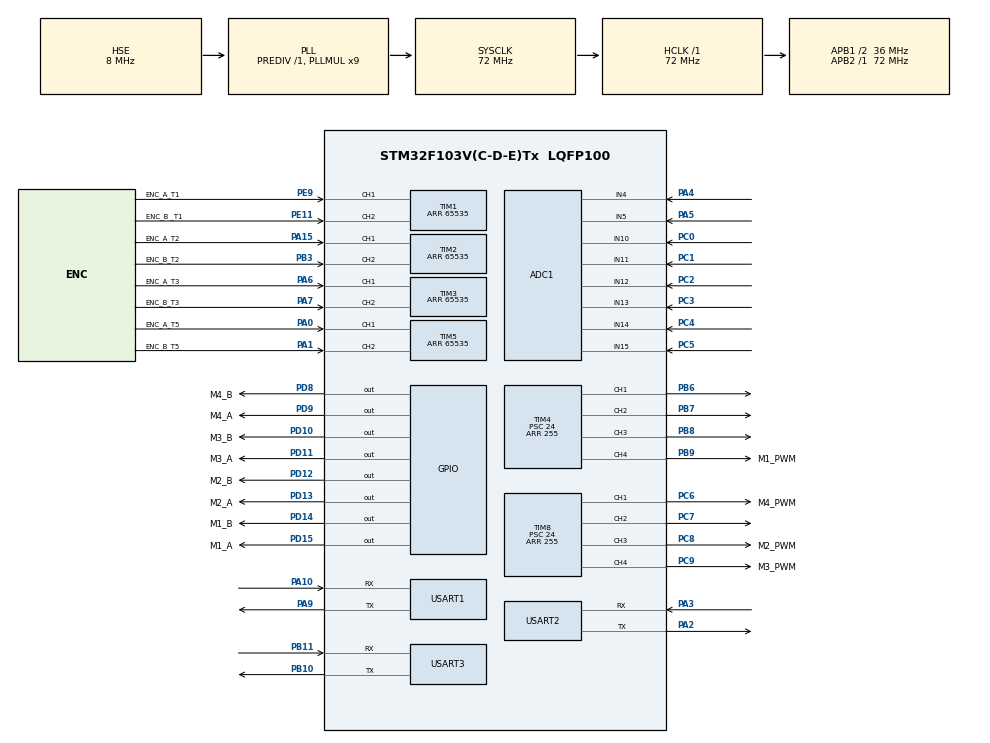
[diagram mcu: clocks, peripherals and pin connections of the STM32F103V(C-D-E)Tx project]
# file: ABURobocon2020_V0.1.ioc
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ADC1.Channel-0\#ChannelRegularConversion=ADC_CHANNEL_4
ADC1.Channel-1\#ChannelRegularConversion=ADC_CHANNEL_5
ADC1.Channel-2\#ChannelRegularConversion=ADC_CHANNEL_10
ADC1.Channel-3\#ChannelRegularConversion=ADC_CHANNEL_11
ADC1.Channel-4\#ChannelRegularConversion=ADC_CHANNEL_12
ADC1.Channel-5\#ChannelRegularConversion=ADC_CHANNEL_13
ADC1.Channel-6\#ChannelRegularConversion=ADC_CHANNEL_14
ADC1.Channel-7\#ChannelRegularConversion=ADC_CHANNEL_15
ADC1.ContinuousConvMode=ENABLE
ADC1.NbrOfConversion=8
ADC1.NbrOfConversionFlag=1
ADC1.Rank-0\#ChannelRegularConversion=1
ADC1.Rank-1\#ChannelRegularConversion=2
ADC1.Rank-2\#ChannelRegularConversion=3
ADC1.Rank-3\#ChannelRegularConversion=4
ADC1.Rank-4\#ChannelRegularConversion=5
ADC1.Rank-5\#ChannelRegularConversion=6
ADC1.Rank-6\#ChannelRegularConversion=7
ADC1.Rank-7\#ChannelRegularConversion=8
ADC1.SamplingTime-0\#ChannelRegularConversion=ADC_SAMPLETIME_239CYCLES_5
ADC1.SamplingTime-1\#ChannelRegularConversion=ADC_SAMPLETIME_239CYCLES_5
ADC1.SamplingTime-2\#ChannelRegularConversion=ADC_SAMPLETIME_239CYCLES_5
ADC1.SamplingTime-3\#ChannelRegularConversion=ADC_SAMPLETIME_239CYCLES_5
ADC1.SamplingTime-4\#ChannelRegularConversion=ADC_SAMPLETIME_239CYCLES_5
ADC1.SamplingTime-5\#ChannelRegularConversion=ADC_SAMPLETIME_239CYCLES_5
ADC1.SamplingTime-6\#ChannelRegularConversion=ADC_SAMPLETIME_239CYCLES_5
ADC1.SamplingTime-7\#ChannelRegularConversion=ADC_SAMPLETIME_239CYCLES_5
ADC1.master=1
Dma.ADC1.6.Direction=DMA_PERIPH_TO_MEMORY
Dma.ADC1.6.Instance=DMA1_Channel1
Dma.ADC1.6.MemDataAlignment=DMA_MDATAALIGN_WORD
Dma.ADC1.6.MemInc=DMA_MINC_ENABLE
Dma.ADC1.6.Mode=DMA_CIRCULAR
Dma.ADC1.6.PeriphDataAlignment=DMA_PDATAALIGN_WORD
Dma.ADC1.6.PeriphInc=DMA_PINC_DISABLE
Dma.ADC1.6.Priority=DMA_PRIORITY_LOW
Dma.Request0=USART1_RX
Dma.Request1=USART1_TX
Dma.Request2=USART2_RX
Dma.Request3=USART2_TX
Dma.Request4=USART3_RX
Dma.Request5=USART3_TX
Dma.Request6=ADC1
Dma.USART1_RX.0.Direction=DMA_PERIPH_TO_MEMORY
Dma.USART1_RX.0.Instance=DMA1_Channel5
Dma.USART1_RX.0.MemDataAlignment=DMA_MDATAALIGN_BYTE
Dma.USART1_RX.0.MemInc=DMA_MINC_ENABLE
Dma.USART1_RX.0.Mode=DMA_NORMAL
Dma.USART1_RX.0.PeriphDataAlignment=DMA_PDATAALIGN_BYTE
Dma.USART1_RX.0.PeriphInc=DMA_PINC_DISABLE
Dma.USART1_RX.0.Priority=DMA_PRIORITY_LOW
Dma.USART1_TX.1.Direction=DMA_MEMORY_TO_PERIPH
Dma.USART1_TX.1.Instance=DMA1_Channel4
Dma.USART1_TX.1.MemDataAlignment=DMA_MDATAALIGN_BYTE
Dma.USART1_TX.1.MemInc=DMA_MINC_ENABLE
Dma.USART1_TX.1.Mode=DMA_NORMAL
Dma.USART1_TX.1.PeriphDataAlignment=DMA_PDATAALIGN_BYTE
Dma.USART1_TX.1.PeriphInc=DMA_PINC_DISABLE
Dma.USART1_TX.1.Priority=DMA_PRIORITY_LOW
Dma.USART2_RX.2.Direction=DMA_PERIPH_TO_MEMORY
Dma.USART2_RX.2.Instance=DMA1_Channel6
Dma.USART2_RX.2.MemDataAlignment=DMA_MDATAALIGN_BYTE
Dma.USART2_RX.2.MemInc=DMA_MINC_ENABLE
Dma.USART2_RX.2.Mode=DMA_NORMAL
Dma.USART2_RX.2.PeriphDataAlignment=DMA_PDATAALIGN_BYTE
Dma.USART2_RX.2.PeriphInc=DMA_PINC_DISABLE
Dma.USART2_RX.2.Priority=DMA_PRIORITY_LOW
Dma.USART2_TX.3.Direction=DMA_MEMORY_TO_PERIPH
Dma.USART2_TX.3.Instance=DMA1_Channel7
Dma.USART2_TX.3.MemDataAlignment=DMA_MDATAALIGN_BYTE
Dma.USART2_TX.3.MemInc=DMA_MINC_ENABLE
Dma.USART2_TX.3.Mode=DMA_NORMAL
Dma.USART2_TX.3.PeriphDataAlignment=DMA_PDATAALIGN_BYTE
Dma.USART2_TX.3.PeriphInc=DMA_PINC_DISABLE
Dma.USART2_TX.3.Priority=DMA_PRIORITY_LOW
Dma.USART3_RX.4.Direction=DMA_PERIPH_TO_MEMORY
Dma.USART3_RX.4.Instance=DMA1_Channel3
Dma.USART3_RX.4.MemDataAlignment=DMA_MDATAALIGN_BYTE
Dma.USART3_RX.4.MemInc=DMA_MINC_ENABLE
Dma.USART3_RX.4.Mode=DMA_NORMAL
Dma.USART3_RX.4.PeriphDataAlignment=DMA_PDATAALIGN_BYTE
Dma.USART3_RX.4.PeriphInc=DMA_PINC_DISABLE
Dma.USART3_RX.4.Priority=DMA_PRIORITY_LOW
Dma.USART3_TX.5.Direction=DMA_MEMORY_TO_PERIPH
Dma.USART3_TX.5.Instance=DMA1_Channel2
Dma.USART3_TX.5.MemDataAlignment=DMA_MDATAALIGN_BYTE
Dma.USART3_TX.5.MemInc=DMA_MINC_ENABLE
Dma.USART3_TX.5.Mode=DMA_NORMAL
Dma.USART3_TX.5.PeriphDataAlignment=DMA_PDATAALIGN_BYTE
Dma.USART3_TX.5.PeriphInc=DMA_PINC_DISABLE
Dma.USART3_TX.5.Priority=DMA_PRIORITY_LOW
FREERTOS.Mutexes01=myUART_Mutex,Dynamic,NULL
FREERTOS.Tasks01=myMainTask,0,200,MainTask,Default,NULL,Dynamic,NULL,NULL;myWheelTask,-3,128,WheelTask,Default,NULL,Dynamic,NULL,NULL;myArmTask,-3,128,ArmTask,Default,NULL,Dynamic,NULL,NULL
Mcu.Family=STM32F1
Mcu.Name=STM32F103V(C-D-E)Tx
Mcu.Package=LQFP100
NVIC.ADC1_2_IRQn=true\:5\:0\:false\:false\:true\:true\:true\:true
NVIC.DMA1_Channel1_IRQn=true\:5\:0\:false\:false\:true\:true\:false\:true
NVIC.DMA1_Channel2_IRQn=true\:5\:0\:false\:false\:true\:true\:false\:true
NVIC.DMA1_Channel3_IRQn=true\:5\:0\:false\:false\:true\:true\:false\:true
NVIC.DMA1_Channel4_IRQn=true\:5\:0\:false\:false\:true\:true\:false\:true
NVIC.DMA1_Channel5_IRQn=true\:5\:0\:false\:false\:true\:true\:false\:true
NVIC.DMA1_Channel6_IRQn=true\:5\:0\:false\:false\:true\:true\:false\:true
NVIC.DMA1_Channel7_IRQn=true\:5\:0\:false\:false\:true\:true\:false\:true
NVIC.PriorityGroup=NVIC_PRIORITYGROUP_4
NVIC.RTC_IRQn=true\:5\:0\:false\:false\:true\:true\:true\:true
NVIC.USART1_IRQn=true\:5\:0\:false\:false\:true\:true\:true\:true
NVIC.USART2_IRQn=true\:5\:0\:false\:false\:true\:true\:true\:true
NVIC.USART3_IRQn=true\:5\:0\:false\:false\:true\:true\:true\:true
OSC_IN.Mode=HSE-External-Oscillator
OSC_IN.Signal=RCC_OSC_IN
OSC_OUT.Mode=HSE-External-Oscillator
OSC_OUT.Signal=RCC_OSC_OUT
PA0-WKUP.GPIO_Label=ENC_A_T5
PA0-WKUP.Signal=S_TIM5_CH1
PA1.GPIO_Label=ENC_B_T5
PA1.Signal=S_TIM5_CH2
PA10.Mode=Asynchronous
PA10.Signal=USART1_RX
PA15.GPIO_Label=ENC_A_T2
PA15.Signal=S_TIM2_CH1_ETR
PA2.Mode=Asynchronous
PA2.Signal=USART2_TX
PA3.Mode=Asynchronous
PA3.Signal=USART2_RX
PA4.Signal=ADCx_IN4
PA5.Signal=ADCx_IN5
PA6.GPIO_Label=ENC_A_T3
PA6.Signal=S_TIM3_CH1
PA7.GPIO_Label=ENC_B_T3
PA7.Signal=S_TIM3_CH2
PA9.Mode=Asynchronous
PA9.Signal=USART1_TX
PB10.Mode=Asynchronous
PB10.Signal=USART3_TX
PB11.Mode=Asynchronous
PB11.Signal=USART3_RX
PB3.GPIO_Label=ENC_B_T2
PB3.Signal=S_TIM2_CH2
PB6.Signal=S_TIM4_CH1
PB7.Signal=S_TIM4_CH2
PB8.Signal=S_TIM4_CH3
PB9.GPIO_Label=M1_PWM
PB9.Signal=S_TIM4_CH4
PC0.Signal=ADCx_IN10
PC1.Signal=ADCx_IN11
PC14-OSC32_IN.Mode=LSE-External-Oscillator
PC14-OSC32_IN.Signal=RCC_OSC32_IN
PC15-OSC32_OUT.Mode=LSE-External-Oscillator
PC15-OSC32_OUT.Signal=RCC_OSC32_OUT
PC2.Signal=ADCx_IN12
PC3.Signal=ADCx_IN13
PC4.Signal=ADCx_IN14
PC5.Signal=ADCx_IN15
PC6.GPIO_Label=M4_PWM
PC6.Signal=S_TIM8_CH1
PC7.Signal=S_TIM8_CH2
PC8.GPIO_Label=M2_PWM
PC8.Signal=S_TIM8_CH3
PC9.GPIO_Label=M3_PWM
PC9.Signal=S_TIM8_CH4
PD10.GPIO_Label=M3_B
PD10.Signal=GPIO_Output
PD11.GPIO_Label=M3_A
PD11.Signal=GPIO_Output
PD12.GPIO_Label=M2_B
PD12.Signal=GPIO_Output
PD13.GPIO_Label=M2_A
PD13.Signal=GPIO_Output
PD14.GPIO_Label=M1_B
PD14.Signal=GPIO_Output
PD15.GPIO_Label=M1_A
PD15.Signal=GPIO_Output
PD8.GPIO_Label=M4_B
PD8.Signal=GPIO_Output
PD9.GPIO_Label=M4_A
PD9.Signal=GPIO_Output
PE11.GPIO_Label=ENC_B _T1
PE11.GPIO_PuPd=GPIO_PULLUP
PE11.Signal=S_TIM1_CH2
PE9.GPIO_Label=ENC_A_T1
PE9.GPIO_PuPd=GPIO_PULLUP
PE9.Signal=S_TIM1_CH1
ProjectManager.HeapSize=0x200
ProjectManager.StackSize=0x400
ProjectManager.TargetToolchain=MDK-ARM V5
RCC.ADCPresc=RCC_ADCPCLK2_DIV6
RCC.AHBFreq_Value=72000000
RCC.APB1CLKDivider=RCC_HCLK_DIV2
RCC.APB1Freq_Value=36000000
RCC.APB1TimFreq_Value=72000000
RCC.APB2Freq_Value=72000000
RCC.APB2TimFreq_Value=72000000
RCC.HCLKFreq_Value=72000000
RCC.PLLMUL=RCC_PLL_MUL9
RCC.PLLSourceVirtual=RCC_PLLSOURCE_HSE
RCC.SYSCLKFreq_VALUE=72000000
RCC.SYSCLKSource=RCC_SYSCLKSOURCE_PLLCLK
RCC.USBFreq_Value=72000000
SH.ADCx_IN10.0=ADC1_IN10,IN10
SH.ADCx_IN11.0=ADC1_IN11,IN11
SH.ADCx_IN12.0=ADC1_IN12,IN12
SH.ADCx_IN13.0=ADC1_IN13,IN13
SH.ADCx_IN14.0=ADC1_IN14,IN14
SH.ADCx_IN15.0=ADC1_IN15,IN15
SH.ADCx_IN4.0=ADC1_IN4,IN4
SH.ADCx_IN5.0=ADC1_IN5,IN5
SH.S_TIM1_CH1.0=TIM1_CH1,Encoder_Interface
SH.S_TIM1_CH2.0=TIM1_CH2,Encoder_Interface
SH.S_TIM2_CH1_ETR.0=TIM2_CH1,Encoder_Interface
SH.S_TIM2_CH2.0=TIM2_CH2,Encoder_Interface
SH.S_TIM3_CH1.0=TIM3_CH1,Encoder_Interface
SH.S_TIM3_CH2.0=TIM3_CH2,Encoder_Interface
SH.S_TIM4_CH1.0=TIM4_CH1,PWM Generation1 CH1
SH.S_TIM4_CH2.0=TIM4_CH2,PWM Generation2 CH2
SH.S_TIM4_CH3.0=TIM4_CH3,PWM Generation3 CH3
SH.S_TIM4_CH4.0=TIM4_CH4,PWM Generation4 CH4
SH.S_TIM5_CH1.0=TIM5_CH1,Encoder_Interface
SH.S_TIM5_CH2.0=TIM5_CH2,Encoder_Interface
SH.S_TIM8_CH1.0=TIM8_CH1,PWM Generation1 CH1
SH.S_TIM8_CH2.0=TIM8_CH2,PWM Generation2 CH2
SH.S_TIM8_CH3.0=TIM8_CH3,PWM Generation3 CH3
SH.S_TIM8_CH4.0=TIM8_CH4,PWM Generation4 CH4
TIM1.EncoderMode=TIM_ENCODERMODE_TI12
TIM1.IC2Polarity=TIM_ICPOLARITY_RISING
TIM1.Period=65535
TIM2.EncoderMode=TIM_ENCODERMODE_TI12
TIM2.Period=65535
TIM3.EncoderMode=TIM_ENCODERMODE_TI12
TIM3.Period=65535
TIM4.Channel-PWM\ Generation1\ CH1=TIM_CHANNEL_1
TIM4.Channel-PWM\ Generation2\ CH2=TIM_CHANNEL_2
TIM4.Channel-PWM\ Generation3\ CH3=TIM_CHANNEL_3
TIM4.Channel-PWM\ Generation4\ CH4=TIM_CHANNEL_4
TIM4.OCPolarity_4=TIM_OCPOLARITY_HIGH
TIM4.Period=255
TIM4.Prescaler=24
TIM5.EncoderMode=TIM_ENCODERMODE_TI12
TIM5.Period=65535
TIM8.Channel-PWM\ Generation1\ CH1=TIM_CHANNEL_1
TIM8.Channel-PWM\ Generation2\ CH2=TIM_CHANNEL_2
TIM8.Channel-PWM\ Generation3\ CH3=TIM_CHANNEL_3
TIM8.Channel-PWM\ Generation4\ CH4=TIM_CHANNEL_4
TIM8.OCPolarity_1=TIM_OCPOLARITY_HIGH
TIM8.OCPolarity_3=TIM_OCPOLARITY_HIGH
TIM8.OCPolarity_4=TIM_OCPOLARITY_HIGH
TIM8.Period=255
TIM8.Prescaler=24
USART1.VirtualMode=VM_ASYNC
USART2.VirtualMode=VM_ASYNC
USART3.VirtualMode=VM_ASYNC
VP_FREERTOS_VS_CMSIS_V1.Mode=CMSIS_V1
VP_RTC_VS_RTC_Activate.Mode=RTC_Enabled
VP_SYS_VS_ND.Mode=No_Debug
board=custom

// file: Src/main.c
/* USER CODE BEGIN Header */
/**
  ******************************************************************************
  * @file           : main.c
  * @brief          : Main program body
  ******************************************************************************
  * @attention
  *
  * <h2><center>&copy; Copyright (c) 2019 STMicroelectronics.
  * All rights reserved.</center></h2>
  *
  * This software component is licensed by ST under BSD 3-Clause license,
  * the "License"; You may not use this file except in compliance with the
  * License. You may obtain a copy of the License at:
  *                        opensource.org/licenses/BSD-3-Clause
  *
  ******************************************************************************
  */
/* USER CODE END Header */

#include "main.h"
#include "cmsis_os.h"

/* USER CODE BEGIN Includes */
#include "STM_UART.h"
/* USER CODE END Includes */

/* USER CODE BEGIN PD */
uint8_t rbr1 , rbr2, rbr3;
char sbuf[BUFSIZE],spbuf[BUFSIZE];
unsigned char RXbuf[BUFSIZE];
unsigned char RX2buf[BUFSIZE];
unsigned char RX3buf[BUFSIZE];

uint32_t ADCvalue[8] , ADCbuffer[8];

long EncVal;

typedef struct{
	uint8_t speed;
	uint8_t direction;
	long Enc;
}Wheel_t;

Wheel_t wheel[4];

//Wheel Whl[4];

/* USER CODE END PD */

ADC_HandleTypeDef hadc1;
DMA_HandleTypeDef hdma_adc1;

RTC_HandleTypeDef hrtc;

TIM_HandleTypeDef htim1;
TIM_HandleTypeDef htim2;
TIM_HandleTypeDef htim3;
TIM_HandleTypeDef htim4;
TIM_HandleTypeDef htim5;
TIM_HandleTypeDef htim8;

UART_HandleTypeDef huart1;
UART_HandleTypeDef huart2;
UART_HandleTypeDef huart3;
DMA_HandleTypeDef hdma_usart1_rx;
DMA_HandleTypeDef hdma_usart1_tx;
DMA_HandleTypeDef hdma_usart2_rx;
DMA_HandleTypeDef hdma_usart2_tx;
DMA_HandleTypeDef hdma_usart3_rx;
DMA_HandleTypeDef hdma_usart3_tx;

osThreadId myMainTaskHandle;
osThreadId myWheelTaskHandle;
osThreadId myArmTaskHandle;
osMutexId myUART_MutexHandle;

void SystemClock_Config(void);
static void MX_GPIO_Init(void);
static void MX_DMA_Init(void);
static void MX_RTC_Init(void);
static void MX_USART1_UART_Init(void);
static void MX_USART2_UART_Init(void);
static void MX_USART3_UART_Init(void);
static void MX_TIM4_Init(void);
static void MX_TIM8_Init(void);
static void MX_ADC1_Init(void);
static void MX_TIM1_Init(void);
static void MX_TIM2_Init(void);
static void MX_TIM3_Init(void);
static void MX_TIM5_Init(void);
void MainTask(void const * argument);
void WheelTask(void const * argument);
void ArmTask(void const * argument);

/* USER CODE BEGIN 0 */
void HAL_ADC_ConvCpltCallback(ADC_HandleTypeDef* hadc){
	if(hadc->Instance == ADC1){
		for(int i=0; i<8; i++){
		  ADCvalue[i]=ADCbuffer[i];
		}
	}
}

long map(long x, long in_min, long in_max, long out_min, long out_max) {
  return (x - in_min) * (out_max - out_min) / (in_max - in_min) + out_min;
}

void PWMwrite(uint8_t tim ,uint8_t ch, uint8_t val){
	if(tim == 4){
     switch(ch){
			 case 4: __HAL_TIM_SET_COMPARE(&htim4, TIM_CHANNEL_4,val); break;
			 default : break;
		 }
	}
	else if(tim == 8){
		  switch(ch){
			 case 1: __HAL_TIM_SET_COMPARE(&htim8, TIM_CHANNEL_1,val); break;
			 case 3: __HAL_TIM_SET_COMPARE(&htim8, TIM_CHANNEL_3,val); break;
			 case 4: __HAL_TIM_SET_COMPARE(&htim8, TIM_CHANNEL_4,val); break;
			 default : break;
		 }
	}
	else{
		Serial1_Println("Timer not use");
	}
}

void MOTOR_1_FORWARD(uint8_t Dir,uint8_t Pwm){
	if(Dir == 1){
	HAL_GPIO_WritePin(M1_A_GPIO_Port, M1_A_Pin, 1);
	HAL_GPIO_WritePin(M1_B_GPIO_Port, M1_B_Pin, 0);
	}
	else if(Dir == 2){
	HAL_GPIO_WritePin(M1_A_GPIO_Port, M1_A_Pin, 0);
	HAL_GPIO_WritePin(M1_B_GPIO_Port, M1_B_Pin, 1);
	}
	else {
	HAL_GPIO_WritePin(M1_A_GPIO_Port, M1_A_Pin, 0);
	HAL_GPIO_WritePin(M1_B_GPIO_Port, M1_B_Pin, 0);
		}
}
void TIM1_IRQHandler(void)
{

}

void TIM2_IRQHandler(void)
{

}

void TIM3_IRQHandler(void)
{

}

void TIM5_IRQHandler(void)
{

}

/* USER CODE END 0 */

int main(void)
{

  /* MCU Configuration--------------------------------------------------------*/

  /* Reset of all peripherals, Initializes the Flash interface and the Systick. */
  HAL_Init();

  /* Configure the system clock */
  SystemClock_Config();

  /* Initialize all configured peripherals */
  MX_GPIO_Init();
  MX_DMA_Init();
  MX_RTC_Init();
  MX_USART1_UART_Init();
  MX_USART2_UART_Init();
  MX_USART3_UART_Init();
  MX_TIM4_Init();
  MX_TIM8_Init();
  MX_ADC1_Init();
  MX_TIM1_Init();
  MX_TIM2_Init();
  MX_TIM3_Init();
  MX_TIM5_Init();
  /* USER CODE BEGIN 2 */

	HAL_UART_Receive_DMA(&huart1,&rbr1,1);
	HAL_UART_Receive_DMA(&huart2,&rbr2,1);
  HAL_UART_Receive_DMA(&huart3,&rbr3,1);

	HAL_TIM_PWM_Start(&htim4, TIM_CHANNEL_4);
	HAL_TIM_PWM_Start(&htim8, TIM_CHANNEL_1);
	HAL_TIM_PWM_Start(&htim8, TIM_CHANNEL_3);
	HAL_TIM_PWM_Start(&htim8, TIM_CHANNEL_4);

	HAL_ADC_Start_DMA(&hadc1, ADCbuffer, 8);
	HAL_ADC_Start_IT(&hadc1);

	HAL_TIM_Encoder_Start(&htim1,TIM_CHANNEL_ALL);
	HAL_TIM_Encoder_Start(&htim2,TIM_CHANNEL_ALL);
	HAL_TIM_Encoder_Start(&htim3,TIM_CHANNEL_ALL);
	HAL_TIM_Encoder_Start(&htim5,TIM_CHANNEL_ALL);

		Serial1_Println("START HOILOD ... GO");
  /* USER CODE END 2 */

  /* Create the mutex(es) */
  /* definition and creation of myUART_Mutex */
  osMutexDef(myUART_Mutex);
  myUART_MutexHandle = osMutexCreate(osMutex(myUART_Mutex));

  /* Create the thread(s) */
  /* definition and creation of myMainTask */
  osThreadDef(myMainTask, MainTask, osPriorityNormal, 0, 200);
  myMainTaskHandle = osThreadCreate(osThread(myMainTask), NULL);

  /* definition and creation of myWheelTask */
  osThreadDef(myWheelTask, WheelTask, osPriorityIdle, 0, 128);
  myWheelTaskHandle = osThreadCreate(osThread(myWheelTask), NULL);

  /* definition and creation of myArmTask */
  osThreadDef(myArmTask, ArmTask, osPriorityIdle, 0, 128);
  myArmTaskHandle = osThreadCreate(osThread(myArmTask), NULL);

  /* Start scheduler */
  osKernelStart();

  /* We should never get here as control is now taken by the scheduler */

  /* Infinite loop */
  while (1)
  {

    /* USER CODE BEGIN 3 */
		//unsigned long EncVal = HAL_TIM_Encoder_GetState(&htim1);
////		long EncVal;
////
////		EncVal = __HAL_TIM_GET_COUNTER(&htim1);
////		if(EncVal > 65533){
////		__HAL_TIM_GET_COUNTER(&htim1) = 0;
////		}
//////		if(TIM1->CNT >= 65533){
//////			EncVal = TIM1->CNT + 65533;
//////		}
//////		else{
//////			EncVal = TIM1->CNT;
//////		}
////
////    sprintf(spbuf,"Encoder -> %lu", EncVal);
////		Serial1_Println(spbuf);
////		HAL_Delay(5);
////
//					for(int i=0;i<8;i++){
//			  sprintf(spbuf,"ADC[%d]:%d | ",i,ADCvalue[i]);
//			  Serial1_Print(spbuf);
//						HAL_Delay(10);
//			}
//					Serial1_Println("");

//		for(int i = 0;i<=255;i++){
//			PWMwrite(4,4,i);
//			PWMwrite(8,1,i);
//			PWMwrite(8,3,i);
//			PWMwrite(8,4,i);
//			HAL_Delay(20);
//		}
//				for(int i = 255;i>=0;i--){
//			PWMwrite(4,4,i);
//			PWMwrite(8,1,i);
//			PWMwrite(8,3,i);
//			PWMwrite(8,4,i);
//					HAL_Delay(20);
//		}

						if(Serial1_available() > 0){
					//Serial1_readByte_String(RXbuf,50);
					char c = Serial1_read();
					sprintf(sbuf,"C:%c",c);
					Serial1_Println(sbuf);

					if(c == 'a'){
						Serial1_Println("ON");
						//MOTOR_1_FORWARD(1,255);
					}
					else if(c == 's'){
						Serial1_Println("OFF");
					}
					//Serial1_Print("msg : "); Serial1_Println((char*)RXbuf);
				}
  }
  /* USER CODE END 3 */
}

void SystemClock_Config(void)
{
  RCC_OscInitTypeDef RCC_OscInitStruct = {0};
  RCC_ClkInitTypeDef RCC_ClkInitStruct = {0};
  RCC_PeriphCLKInitTypeDef PeriphClkInit = {0};

  /** Initializes the CPU, AHB and APB busses clocks
  */
  RCC_OscInitStruct.OscillatorType = RCC_OSCILLATORTYPE_LSI|RCC_OSCILLATORTYPE_HSE;
  RCC_OscInitStruct.HSEState = RCC_HSE_ON;
  RCC_OscInitStruct.HSEPredivValue = RCC_HSE_PREDIV_DIV1;
  RCC_OscInitStruct.HSIState = RCC_HSI_ON;
  RCC_OscInitStruct.LSIState = RCC_LSI_ON;
  RCC_OscInitStruct.PLL.PLLState = RCC_PLL_ON;
  RCC_OscInitStruct.PLL.PLLSource = RCC_PLLSOURCE_HSE;
  RCC_OscInitStruct.PLL.PLLMUL = RCC_PLL_MUL9;
  if (HAL_RCC_OscConfig(&RCC_OscInitStruct) != HAL_OK)
  {
    Error_Handler();
  }
  /** Initializes the CPU, AHB and APB busses clocks
  */
  RCC_ClkInitStruct.ClockType = RCC_CLOCKTYPE_HCLK|RCC_CLOCKTYPE_SYSCLK
                              |RCC_CLOCKTYPE_PCLK1|RCC_CLOCKTYPE_PCLK2;
  RCC_ClkInitStruct.SYSCLKSource = RCC_SYSCLKSOURCE_PLLCLK;
  RCC_ClkInitStruct.AHBCLKDivider = RCC_SYSCLK_DIV1;
  RCC_ClkInitStruct.APB1CLKDivider = RCC_HCLK_DIV2;
  RCC_ClkInitStruct.APB2CLKDivider = RCC_HCLK_DIV1;

  if (HAL_RCC_ClockConfig(&RCC_ClkInitStruct, FLASH_LATENCY_2) != HAL_OK)
  {
    Error_Handler();
  }
  PeriphClkInit.PeriphClockSelection = RCC_PERIPHCLK_RTC|RCC_PERIPHCLK_ADC;
  PeriphClkInit.RTCClockSelection = RCC_RTCCLKSOURCE_LSI;
  PeriphClkInit.AdcClockSelection = RCC_ADCPCLK2_DIV6;
  if (HAL_RCCEx_PeriphCLKConfig(&PeriphClkInit) != HAL_OK)
  {
    Error_Handler();
  }
}

static void MX_ADC1_Init(void)
{

  ADC_ChannelConfTypeDef sConfig = {0};

  /** Common config
  */
  hadc1.Instance = ADC1;
  hadc1.Init.ScanConvMode = ADC_SCAN_ENABLE;
  hadc1.Init.ContinuousConvMode = ENABLE;
  hadc1.Init.DiscontinuousConvMode = DISABLE;
  hadc1.Init.ExternalTrigConv = ADC_SOFTWARE_START;
  hadc1.Init.DataAlign = ADC_DATAALIGN_RIGHT;
  hadc1.Init.NbrOfConversion = 8;
  if (HAL_ADC_Init(&hadc1) != HAL_OK)
  {
    Error_Handler();
  }
  /** Configure Regular Channel
  */
  sConfig.Channel = ADC_CHANNEL_4;
  sConfig.Rank = ADC_REGULAR_RANK_1;
  sConfig.SamplingTime = ADC_SAMPLETIME_239CYCLES_5;
  if (HAL_ADC_ConfigChannel(&hadc1, &sConfig) != HAL_OK)
  {
    Error_Handler();
  }
  /** Configure Regular Channel
  */
  sConfig.Channel = ADC_CHANNEL_5;
  sConfig.Rank = ADC_REGULAR_RANK_2;
  if (HAL_ADC_ConfigChannel(&hadc1, &sConfig) != HAL_OK)
  {
    Error_Handler();
  }
  /** Configure Regular Channel
  */
  sConfig.Channel = ADC_CHANNEL_10;
  sConfig.Rank = ADC_REGULAR_RANK_3;
  if (HAL_ADC_ConfigChannel(&hadc1, &sConfig) != HAL_OK)
  {
    Error_Handler();
  }
  /** Configure Regular Channel
  */
  sConfig.Channel = ADC_CHANNEL_11;
  sConfig.Rank = ADC_REGULAR_RANK_4;
  if (HAL_ADC_ConfigChannel(&hadc1, &sConfig) != HAL_OK)
  {
    Error_Handler();
  }
  /** Configure Regular Channel
  */
  sConfig.Channel = ADC_CHANNEL_12;
  sConfig.Rank = ADC_REGULAR_RANK_5;
  if (HAL_ADC_ConfigChannel(&hadc1, &sConfig) != HAL_OK)
  {
    Error_Handler();
  }
  /** Configure Regular Channel
  */
  sConfig.Channel = ADC_CHANNEL_13;
  sConfig.Rank = ADC_REGULAR_RANK_6;
  if (HAL_ADC_ConfigChannel(&hadc1, &sConfig) != HAL_OK)
  {
    Error_Handler();
  }
  /** Configure Regular Channel
  */
  sConfig.Channel = ADC_CHANNEL_14;
  sConfig.Rank = ADC_REGULAR_RANK_7;
  if (HAL_ADC_ConfigChannel(&hadc1, &sConfig) != HAL_OK)
  {
    Error_Handler();
  }
  /** Configure Regular Channel
  */
  sConfig.Channel = ADC_CHANNEL_15;
  sConfig.Rank = ADC_REGULAR_RANK_8;
  if (HAL_ADC_ConfigChannel(&hadc1, &sConfig) != HAL_OK)
  {
    Error_Handler();
  }

}

static void MX_RTC_Init(void)
{

  /** Initialize RTC Only
  */
  hrtc.Instance = RTC;
  hrtc.Init.AsynchPrediv = RTC_AUTO_1_SECOND;
  hrtc.Init.OutPut = RTC_OUTPUTSOURCE_ALARM;
  if (HAL_RTC_Init(&hrtc) != HAL_OK)
  {
    Error_Handler();
  }

}

static void MX_TIM1_Init(void)
{

  TIM_Encoder_InitTypeDef sConfig = {0};
  TIM_MasterConfigTypeDef sMasterConfig = {0};

  htim1.Instance = TIM1;
  htim1.Init.Prescaler = 0;
  htim1.Init.CounterMode = TIM_COUNTERMODE_UP;
  htim1.Init.Period = 65535;
  htim1.Init.ClockDivision = TIM_CLOCKDIVISION_DIV1;
  htim1.Init.RepetitionCounter = 0;
  htim1.Init.AutoReloadPreload = TIM_AUTORELOAD_PRELOAD_DISABLE;
  sConfig.EncoderMode = TIM_ENCODERMODE_TI12;
  sConfig.IC1Polarity = TIM_ICPOLARITY_RISING;
  sConfig.IC1Selection = TIM_ICSELECTION_DIRECTTI;
  sConfig.IC1Prescaler = TIM_ICPSC_DIV1;
  sConfig.IC1Filter = 0;
  sConfig.IC2Polarity = TIM_ICPOLARITY_RISING;
  sConfig.IC2Selection = TIM_ICSELECTION_DIRECTTI;
  sConfig.IC2Prescaler = TIM_ICPSC_DIV1;
  sConfig.IC2Filter = 0;
  if (HAL_TIM_Encoder_Init(&htim1, &sConfig) != HAL_OK)
  {
    Error_Handler();
  }
  sMasterConfig.MasterOutputTrigger = TIM_TRGO_RESET;
  sMasterConfig.MasterSlaveMode = TIM_MASTERSLAVEMODE_DISABLE;
  if (HAL_TIMEx_MasterConfigSynchronization(&htim1, &sMasterConfig) != HAL_OK)
  {
    Error_Handler();
  }

}

static void MX_TIM2_Init(void)
{

  TIM_Encoder_InitTypeDef sConfig = {0};
  TIM_MasterConfigTypeDef sMasterConfig = {0};

  htim2.Instance = TIM2;
  htim2.Init.Prescaler = 0;
  htim2.Init.CounterMode = TIM_COUNTERMODE_UP;
  htim2.Init.Period = 65535;
  htim2.Init.ClockDivision = TIM_CLOCKDIVISION_DIV1;
  htim2.Init.AutoReloadPreload = TIM_AUTORELOAD_PRELOAD_DISABLE;
  sConfig.EncoderMode = TIM_ENCODERMODE_TI12;
  sConfig.IC1Polarity = TIM_ICPOLARITY_RISING;
  sConfig.IC1Selection = TIM_ICSELECTION_DIRECTTI;
  sConfig.IC1Prescaler = TIM_ICPSC_DIV1;
  sConfig.IC1Filter = 0;
  sConfig.IC2Polarity = TIM_ICPOLARITY_RISING;
  sConfig.IC2Selection = TIM_ICSELECTION_DIRECTTI;
  sConfig.IC2Prescaler = TIM_ICPSC_DIV1;
  sConfig.IC2Filter = 0;
  if (HAL_TIM_Encoder_Init(&htim2, &sConfig) != HAL_OK)
  {
    Error_Handler();
  }
  sMasterConfig.MasterOutputTrigger = TIM_TRGO_RESET;
  sMasterConfig.MasterSlaveMode = TIM_MASTERSLAVEMODE_DISABLE;
  if (HAL_TIMEx_MasterConfigSynchronization(&htim2, &sMasterConfig) != HAL_OK)
  {
    Error_Handler();
  }

}

static void MX_TIM3_Init(void)
{

  TIM_Encoder_InitTypeDef sConfig = {0};
  TIM_MasterConfigTypeDef sMasterConfig = {0};

  htim3.Instance = TIM3;
  htim3.Init.Prescaler = 0;
  htim3.Init.CounterMode = TIM_COUNTERMODE_UP;
  htim3.Init.Period = 65535;
  htim3.Init.ClockDivision = TIM_CLOCKDIVISION_DIV1;
  htim3.Init.AutoReloadPreload = TIM_AUTORELOAD_PRELOAD_DISABLE;
  sConfig.EncoderMode = TIM_ENCODERMODE_TI12;
  sConfig.IC1Polarity = TIM_ICPOLARITY_RISING;
  sConfig.IC1Selection = TIM_ICSELECTION_DIRECTTI;
  sConfig.IC1Prescaler = TIM_ICPSC_DIV1;
  sConfig.IC1Filter = 0;
  sConfig.IC2Polarity = TIM_ICPOLARITY_RISING;
  sConfig.IC2Selection = TIM_ICSELECTION_DIRECTTI;
  sConfig.IC2Prescaler = TIM_ICPSC_DIV1;
  sConfig.IC2Filter = 0;
  if (HAL_TIM_Encoder_Init(&htim3, &sConfig) != HAL_OK)
  {
    Error_Handler();
  }
  sMasterConfig.MasterOutputTrigger = TIM_TRGO_RESET;
  sMasterConfig.MasterSlaveMode = TIM_MASTERSLAVEMODE_DISABLE;
  if (HAL_TIMEx_MasterConfigSynchronization(&htim3, &sMasterConfig) != HAL_OK)
  {
    Error_Handler();
  }

}

static void MX_TIM4_Init(void)
{

  TIM_MasterConfigTypeDef sMasterConfig = {0};
  TIM_OC_InitTypeDef sConfigOC = {0};

  htim4.Instance = TIM4;
  htim4.Init.Prescaler = 24;
  htim4.Init.CounterMode = TIM_COUNTERMODE_UP;
  htim4.Init.Period = 255;
  htim4.Init.ClockDivision = TIM_CLOCKDIVISION_DIV1;
  htim4.Init.AutoReloadPreload = TIM_AUTORELOAD_PRELOAD_DISABLE;
  if (HAL_TIM_PWM_Init(&htim4) != HAL_OK)
  {
    Error_Handler();
  }
  sMasterConfig.MasterOutputTrigger = TIM_TRGO_RESET;
  sMasterConfig.MasterSlaveMode = TIM_MASTERSLAVEMODE_DISABLE;
  if (HAL_TIMEx_MasterConfigSynchronization(&htim4, &sMasterConfig) != HAL_OK)
  {
    Error_Handler();
  }
  sConfigOC.OCMode = TIM_OCMODE_PWM1;
  sConfigOC.Pulse = 0;
  sConfigOC.OCPolarity = TIM_OCPOLARITY_HIGH;
  sConfigOC.OCFastMode = TIM_OCFAST_DISABLE;
  if (HAL_TIM_PWM_ConfigChannel(&htim4, &sConfigOC, TIM_CHANNEL_1) != HAL_OK)
  {
    Error_Handler();
  }
  if (HAL_TIM_PWM_ConfigChannel(&htim4, &sConfigOC, TIM_CHANNEL_2) != HAL_OK)
  {
    Error_Handler();
  }
  if (HAL_TIM_PWM_ConfigChannel(&htim4, &sConfigOC, TIM_CHANNEL_3) != HAL_OK)
  {
    Error_Handler();
  }
  if (HAL_TIM_PWM_ConfigChannel(&htim4, &sConfigOC, TIM_CHANNEL_4) != HAL_OK)
  {
    Error_Handler();
  }
  HAL_TIM_MspPostInit(&htim4);

}

static void MX_TIM5_Init(void)
{

  TIM_Encoder_InitTypeDef sConfig = {0};
  TIM_MasterConfigTypeDef sMasterConfig = {0};

  htim5.Instance = TIM5;
  htim5.Init.Prescaler = 0;
  htim5.Init.CounterMode = TIM_COUNTERMODE_UP;
  htim5.Init.Period = 65535;
  htim5.Init.ClockDivision = TIM_CLOCKDIVISION_DIV1;
  htim5.Init.AutoReloadPreload = TIM_AUTORELOAD_PRELOAD_DISABLE;
  sConfig.EncoderMode = TIM_ENCODERMODE_TI12;
  sConfig.IC1Polarity = TIM_ICPOLARITY_RISING;
  sConfig.IC1Selection = TIM_ICSELECTION_DIRECTTI;
  sConfig.IC1Prescaler = TIM_ICPSC_DIV1;
  sConfig.IC1Filter = 0;
  sConfig.IC2Polarity = TIM_ICPOLARITY_RISING;
  sConfig.IC2Selection = TIM_ICSELECTION_DIRECTTI;
  sConfig.IC2Prescaler = TIM_ICPSC_DIV1;
  sConfig.IC2Filter = 0;
  if (HAL_TIM_Encoder_Init(&htim5, &sConfig) != HAL_OK)
  {
    Error_Handler();
  }
  sMasterConfig.MasterOutputTrigger = TIM_TRGO_RESET;
  sMasterConfig.MasterSlaveMode = TIM_MASTERSLAVEMODE_DISABLE;
  if (HAL_TIMEx_MasterConfigSynchronization(&htim5, &sMasterConfig) != HAL_OK)
  {
    Error_Handler();
  }

}

static void MX_TIM8_Init(void)
{

  TIM_MasterConfigTypeDef sMasterConfig = {0};
  TIM_OC_InitTypeDef sConfigOC = {0};
  TIM_BreakDeadTimeConfigTypeDef sBreakDeadTimeConfig = {0};

  htim8.Instance = TIM8;
  htim8.Init.Prescaler = 24;
  htim8.Init.CounterMode = TIM_COUNTERMODE_UP;
  htim8.Init.Period = 255;
  htim8.Init.ClockDivision = TIM_CLOCKDIVISION_DIV1;
  htim8.Init.RepetitionCounter = 0;
  htim8.Init.AutoReloadPreload = TIM_AUTORELOAD_PRELOAD_DISABLE;
  if (HAL_TIM_PWM_Init(&htim8) != HAL_OK)
  {
    Error_Handler();
  }
  sMasterConfig.MasterOutputTrigger = TIM_TRGO_RESET;
  sMasterConfig.MasterSlaveMode = TIM_MASTERSLAVEMODE_DISABLE;
  if (HAL_TIMEx_MasterConfigSynchronization(&htim8, &sMasterConfig) != HAL_OK)
  {
    Error_Handler();
  }
  sConfigOC.OCMode = TIM_OCMODE_PWM1;
  sConfigOC.Pulse = 0;
  sConfigOC.OCPolarity = TIM_OCPOLARITY_HIGH;
  sConfigOC.OCNPolarity = TIM_OCNPOLARITY_HIGH;
  sConfigOC.OCFastMode = TIM_OCFAST_DISABLE;
  sConfigOC.OCIdleState = TIM_OCIDLESTATE_RESET;
  sConfigOC.OCNIdleState = TIM_OCNIDLESTATE_RESET;
  if (HAL_TIM_PWM_ConfigChannel(&htim8, &sConfigOC, TIM_CHANNEL_1) != HAL_OK)
  {
    Error_Handler();
  }
  if (HAL_TIM_PWM_ConfigChannel(&htim8, &sConfigOC, TIM_CHANNEL_2) != HAL_OK)
  {
    Error_Handler();
  }
  if (HAL_TIM_PWM_ConfigChannel(&htim8, &sConfigOC, TIM_CHANNEL_3) != HAL_OK)
  {
    Error_Handler();
  }
  if (HAL_TIM_PWM_ConfigChannel(&htim8, &sConfigOC, TIM_CHANNEL_4) != HAL_OK)
  {
    Error_Handler();
  }
  sBreakDeadTimeConfig.OffStateRunMode = TIM_OSSR_DISABLE;
  sBreakDeadTimeConfig.OffStateIDLEMode = TIM_OSSI_DISABLE;
  sBreakDeadTimeConfig.LockLevel = TIM_LOCKLEVEL_OFF;
  sBreakDeadTimeConfig.DeadTime = 0;
  sBreakDeadTimeConfig.BreakState = TIM_BREAK_DISABLE;
  sBreakDeadTimeConfig.BreakPolarity = TIM_BREAKPOLARITY_HIGH;
  sBreakDeadTimeConfig.AutomaticOutput = TIM_AUTOMATICOUTPUT_DISABLE;
  if (HAL_TIMEx_ConfigBreakDeadTime(&htim8, &sBreakDeadTimeConfig) != HAL_OK)
  {
    Error_Handler();
  }
  HAL_TIM_MspPostInit(&htim8);

}

static void MX_USART1_UART_Init(void)
{

  huart1.Instance = USART1;
  huart1.Init.BaudRate = 115200;
  huart1.Init.WordLength = UART_WORDLENGTH_8B;
  huart1.Init.StopBits = UART_STOPBITS_1;
  huart1.Init.Parity = UART_PARITY_NONE;
  huart1.Init.Mode = UART_MODE_TX_RX;
  huart1.Init.HwFlowCtl = UART_HWCONTROL_NONE;
  huart1.Init.OverSampling = UART_OVERSAMPLING_16;
  if (HAL_UART_Init(&huart1) != HAL_OK)
  {
    Error_Handler();
  }

}

static void MX_USART2_UART_Init(void)
{

  huart2.Instance = USART2;
  huart2.Init.BaudRate = 115200;
  huart2.Init.WordLength = UART_WORDLENGTH_8B;
  huart2.Init.StopBits = UART_STOPBITS_1;
  huart2.Init.Parity = UART_PARITY_NONE;
  huart2.Init.Mode = UART_MODE_TX_RX;
  huart2.Init.HwFlowCtl = UART_HWCONTROL_NONE;
  huart2.Init.OverSampling = UART_OVERSAMPLING_16;
  if (HAL_UART_Init(&huart2) != HAL_OK)
  {
    Error_Handler();
  }

}

static void MX_USART3_UART_Init(void)
{

  huart3.Instance = USART3;
  huart3.Init.BaudRate = 115200;
  huart3.Init.WordLength = UART_WORDLENGTH_8B;
  huart3.Init.StopBits = UART_STOPBITS_1;
  huart3.Init.Parity = UART_PARITY_NONE;
  huart3.Init.Mode = UART_MODE_TX_RX;
  huart3.Init.HwFlowCtl = UART_HWCONTROL_NONE;
  huart3.Init.OverSampling = UART_OVERSAMPLING_16;
  if (HAL_UART_Init(&huart3) != HAL_OK)
  {
    Error_Handler();
  }

}

static void MX_DMA_Init(void)
{

  /* DMA controller clock enable */
  __HAL_RCC_DMA1_CLK_ENABLE();

  /* DMA interrupt init */
  /* DMA1_Channel1_IRQn interrupt configuration */
  HAL_NVIC_SetPriority(DMA1_Channel1_IRQn, 5, 0);
  HAL_NVIC_EnableIRQ(DMA1_Channel1_IRQn);
  /* DMA1_Channel2_IRQn interrupt configuration */
  HAL_NVIC_SetPriority(DMA1_Channel2_IRQn, 5, 0);
  HAL_NVIC_EnableIRQ(DMA1_Channel2_IRQn);
  /* DMA1_Channel3_IRQn interrupt configuration */
  HAL_NVIC_SetPriority(DMA1_Channel3_IRQn, 5, 0);
  HAL_NVIC_EnableIRQ(DMA1_Channel3_IRQn);
  /* DMA1_Channel4_IRQn interrupt configuration */
  HAL_NVIC_SetPriority(DMA1_Channel4_IRQn, 5, 0);
  HAL_NVIC_EnableIRQ(DMA1_Channel4_IRQn);
  /* DMA1_Channel5_IRQn interrupt configuration */
  HAL_NVIC_SetPriority(DMA1_Channel5_IRQn, 5, 0);
  HAL_NVIC_EnableIRQ(DMA1_Channel5_IRQn);
  /* DMA1_Channel6_IRQn interrupt configuration */
  HAL_NVIC_SetPriority(DMA1_Channel6_IRQn, 5, 0);
  HAL_NVIC_EnableIRQ(DMA1_Channel6_IRQn);
  /* DMA1_Channel7_IRQn interrupt configuration */
  HAL_NVIC_SetPriority(DMA1_Channel7_IRQn, 5, 0);
  HAL_NVIC_EnableIRQ(DMA1_Channel7_IRQn);

}

static void MX_GPIO_Init(void)
{
  GPIO_InitTypeDef GPIO_InitStruct = {0};

  /* GPIO Ports Clock Enable */
  __HAL_RCC_GPIOC_CLK_ENABLE();
  __HAL_RCC_GPIOA_CLK_ENABLE();
  __HAL_RCC_GPIOE_CLK_ENABLE();
  __HAL_RCC_GPIOB_CLK_ENABLE();
  __HAL_RCC_GPIOD_CLK_ENABLE();

  /*Configure GPIO pin Output Level */
  HAL_GPIO_WritePin(GPIOD, M4_B_Pin|M4_A_Pin|M3_B_Pin|M3_A_Pin
                          |M2_B_Pin|M2_A_Pin|M1_B_Pin|M1_A_Pin, GPIO_PIN_RESET);

  /*Configure GPIO pins : M4_B_Pin M4_A_Pin M3_B_Pin M3_A_Pin
                           M2_B_Pin M2_A_Pin M1_B_Pin M1_A_Pin */
  GPIO_InitStruct.Pin = M4_B_Pin|M4_A_Pin|M3_B_Pin|M3_A_Pin
                          |M2_B_Pin|M2_A_Pin|M1_B_Pin|M1_A_Pin;
  GPIO_InitStruct.Mode = GPIO_MODE_OUTPUT_PP;
  GPIO_InitStruct.Pull = GPIO_NOPULL;
  GPIO_InitStruct.Speed = GPIO_SPEED_FREQ_LOW;
  HAL_GPIO_Init(GPIOD, &GPIO_InitStruct);

}

/* USER CODE BEGIN 4 */
bool LEDflage = false;
/* USER CODE END 4 */

void MainTask(void const * argument)
{
  /* USER CODE BEGIN 5 */

  /* Infinite loop */
  for(;;)
  {

		if(LEDflage == true){
			Serial1_Println("LED ON");
		}
		else{
			Serial1_Println("LED OFF");
		}
		HAL_GPIO_WritePin(M1_A_GPIO_Port, M1_A_Pin, 1);
		osDelay(1000);
		HAL_GPIO_WritePin(M1_A_GPIO_Port, M1_A_Pin, 0);
		osDelay(1000);

//		xSemaphoreTake(myUART_MutexHandle,portMAX_DELAY);
//		Serial1_Println("Hoilod");
//		xSemaphoreGive(myUART_MutexHandle);
//
//	  HAL_GPIO_WritePin(M1_A_GPIO_Port, M1_A_Pin, 1);
//	  osDelay(1000);
//		HAL_GPIO_WritePin(M1_A_GPIO_Port, M1_A_Pin, 0);
//	  osDelay(1000);
  }
  /* USER CODE END 5 */
}

void WheelTask(void const * argument)
{
  /* USER CODE BEGIN WheelTask */
  /* Infinite loop */
  for(;;)
  {
		wheel[1].Enc = EncVal;

		if(EncVal > 32517){
			//HAL_GPIO_WritePin(M1_A_GPIO_Port, M1_A_Pin, 1);
			LEDflage = true;
		}
		else {
			LEDflage = false;

			//HAL_GPIO_WritePin(M1_A_GPIO_Port, M1_A_Pin, 0);
		}
  }
  /* USER CODE END WheelTask */
}

void ArmTask(void const * argument)
{
  /* USER CODE BEGIN ArmTask */
  /* Infinite loop */
  for(;;)
  {
<<<<<<< HEAD
		//test2***
////    if(LEDflage == true){
////			HAL_GPIO_WritePin(M2_A_GPIO_Port, M2_A_Pin, 1);
////		}
////		else {
////			HAL_GPIO_WritePin(M2_A_GPIO_Port, M2_A_Pin, 0);
////		}
=======
    if(LEDflage == true){
			HAL_GPIO_WritePin(M2_A_GPIO_Port, M2_A_Pin, 1);
		}
		else {
			HAL_GPIO_WritePin(M2_A_GPIO_Port, M2_A_Pin, 0);
		}
>>>>>>> parent of 4488c12... test1
  }
  /* USER CODE END ArmTask */
}

void Error_Handler(void)
{
}

/************************ (C) COPYRIGHT STMicroelectronics *****END OF FILE****/
